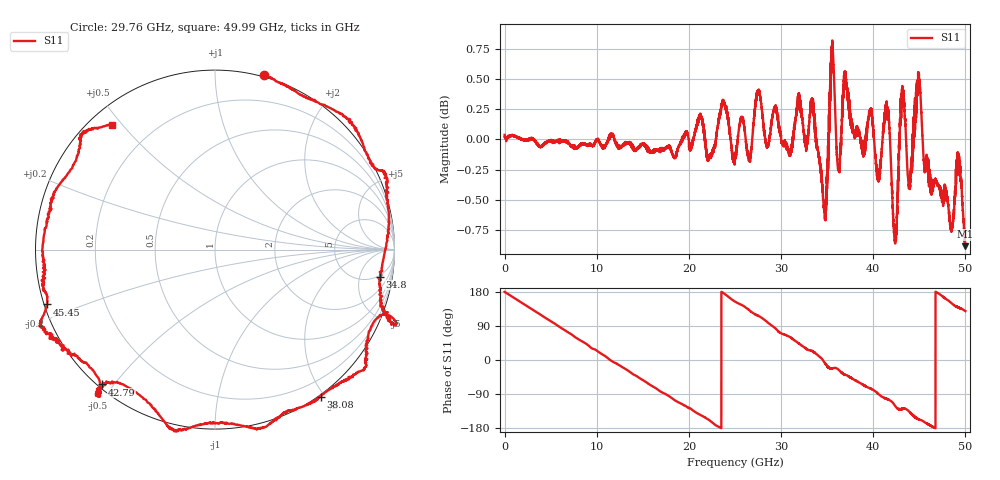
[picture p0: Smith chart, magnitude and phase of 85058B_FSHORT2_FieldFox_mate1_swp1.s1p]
!Created with skrf (http://scikit-rf.org).
# Hz S RI R 50.0
!freq ReS11 ImS11
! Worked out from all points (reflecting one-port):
!   10000 points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, 5.3 MHz to 50 GHz, reference 50 ohm
!   lowest |S11| = -0.9 dB at 50 GHz (marker M1), VSWR 19.63, Z = 3.12 + j23.7 ohm
!   phase of S11 starts at 180 deg and turns -771 deg over the sweep
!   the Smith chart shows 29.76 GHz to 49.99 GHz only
!   S11 on the Smith chart (normalised r, x): 29.76 GHz: -0.01, +1.32; 34.8 GHz: 5, -10; 38.08 GHz: -0.02, -1.95; 42.79 GHz: 0.01, -0.47; 45.45 GHz: 0.01, -0.16; 49.99 GHz: 0.06, +0.47
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5299970  -1.004 0.00146
3.34028e9  -0.6189 0.7835
6.255262e9  0.1257 0.9906
9.460243e9  0.8527 0.5126
1.250522e10  0.959 -0.2508
1.578021e10  0.4122 -0.899
1.875519e10  -0.3413 -0.9297
2.126017e10  -0.84 -0.5857
2.294016e10  -0.9921 -0.1294
2.500515e10  -0.8819 0.43
2.746514e10  -0.4827 0.9301
2.975512e10  0.2708 0.9737
3.125511e10  0.5644 0.8229
3.35301e10  0.955 0.3805
3.479509e10  0.9201 -0.1505
3.567009e10  1.004 -0.3977
3.750507e10  0.7071 -0.7339
3.808007e10  0.5881 -0.8185
4.137505e10  -0.2124 -1.007
4.279004e10  -0.6308 -0.7511
4.375504e10  -0.6528 -0.7116
4.476003e10  -0.9579 -0.4483
4.544503e10  -0.9366 -0.3053
4.772501e10  -0.9183 0.2602
4.908001e10  -0.7452 0.626
4.9985e10  -0.5748 0.6965
4.9995e10  -0.5704 0.7001
5e10  -0.5705 0.7012
